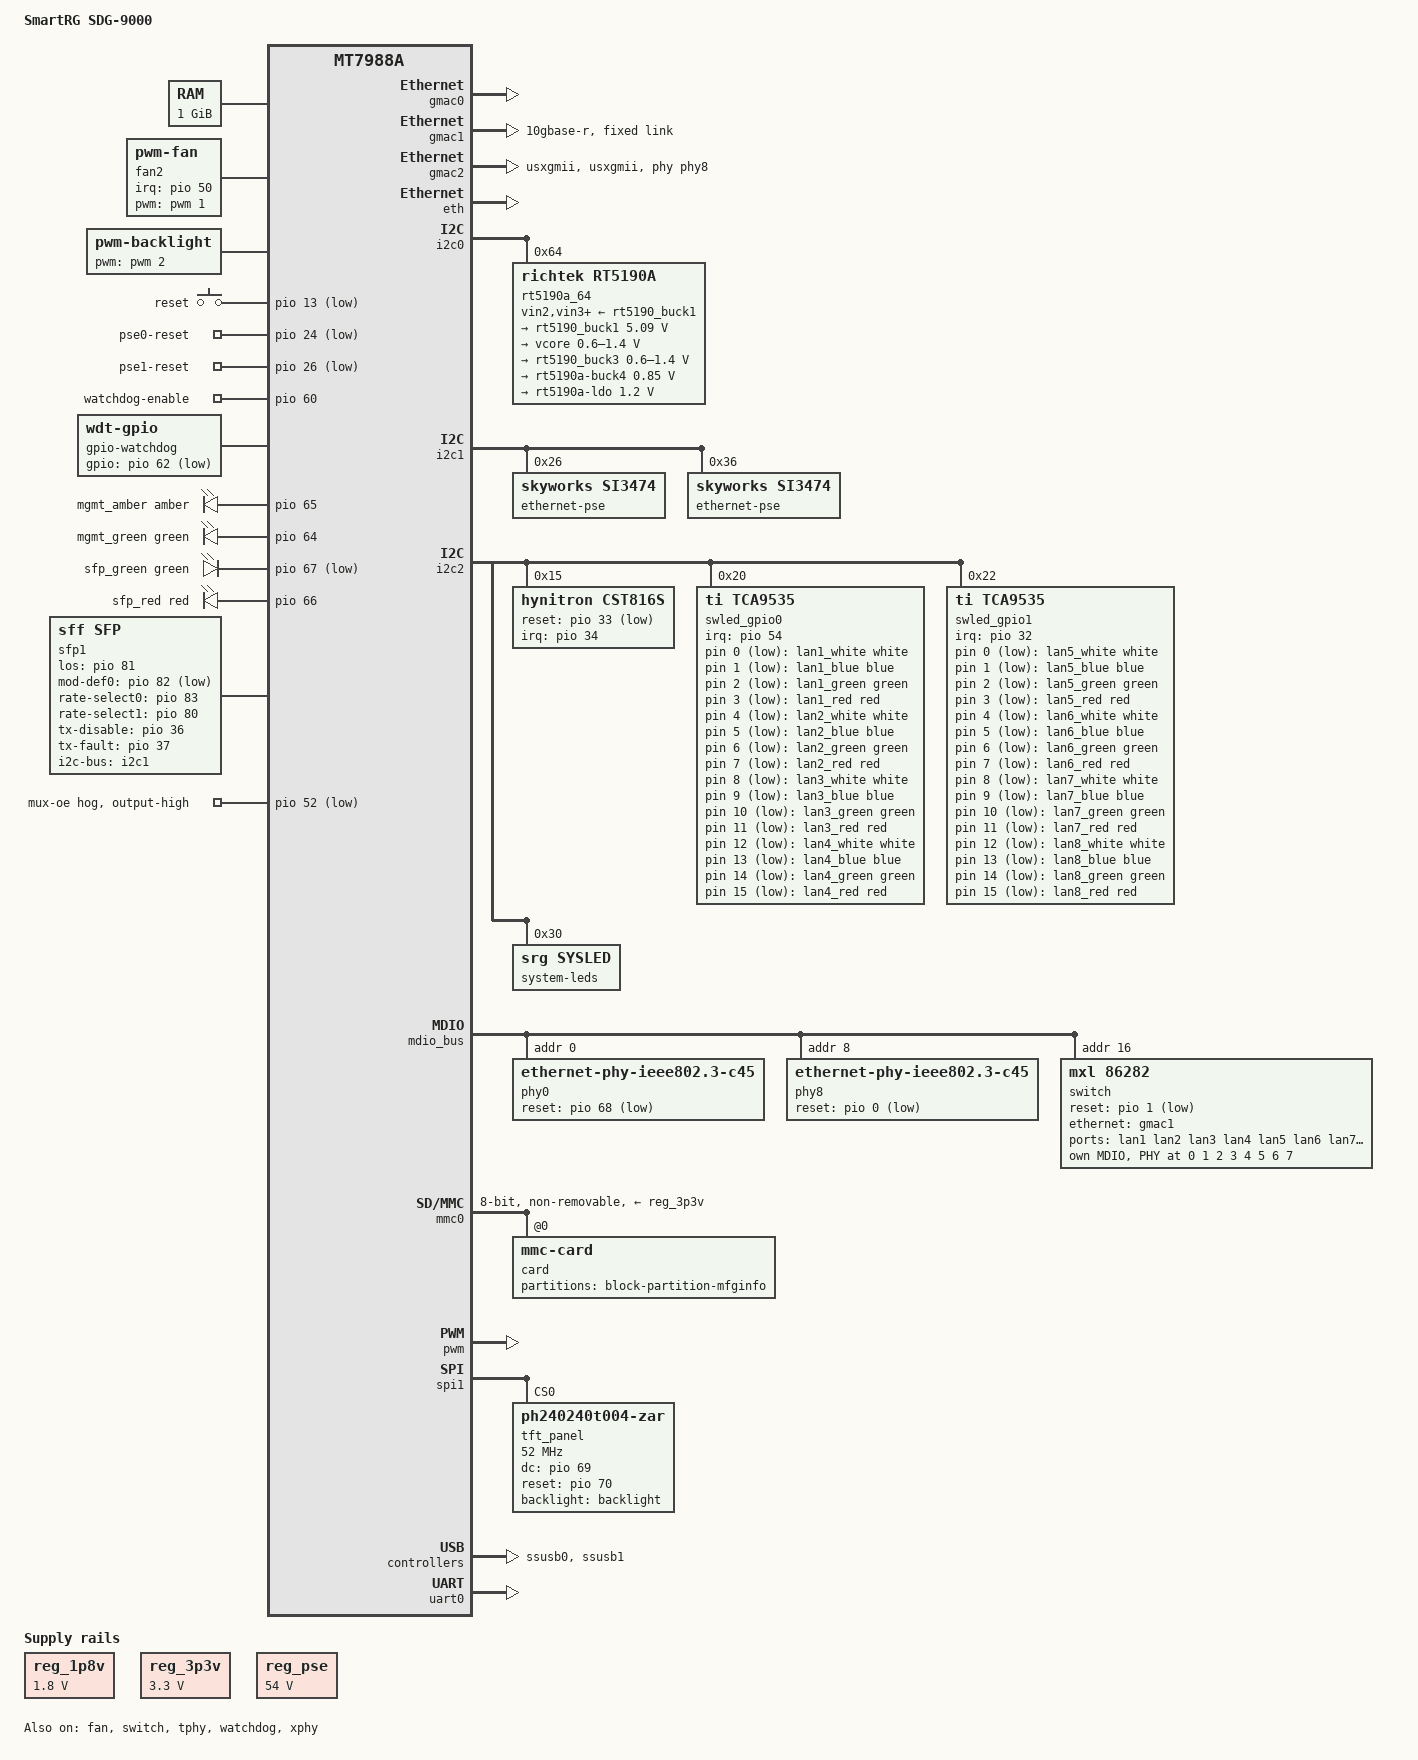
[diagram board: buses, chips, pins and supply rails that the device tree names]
// SPDX-License-Identifier: (GPL-2.0 OR MIT)
/*
 * Copyright (C) 2024 SmartRG Inc.
 * Author: Chad Monroe <chad.monroe@smartrg.com>
 */

/dts-v1/;
#include "mt7988a.dtsi"
#include "mt798x-smartrg-common.dtsi"

#include <dt-bindings/gpio/gpio.h>
#include <dt-bindings/input/input.h>
#include <dt-bindings/leds/common.h>
#include <dt-bindings/pinctrl/mt65xx.h>
#include <dt-bindings/regulator/richtek,rt5190a-regulator.h>
#include <dt-bindings/thermal/thermal.h>

/ {
	model = "SmartRG SDG-9000";
	compatible = "smartrg,sdg-9000", "mediatek,mt7988a";

	aliases {
		serial0 = &uart0;
		label-mac-device = &gmac2;
		led-boot = &led_sys_green;
		led-failsafe = &led_sys_blue;
		led-running = &led_sys_white;
		led-upgrade = &led_sys_red;
	};

	chosen {
		stdout-path = &uart0;
		bootargs = "console=ttyS0,115200n1 loglevel=8 pci=pcie_bus_perf";
	};

	memory {
		reg = <0x0 0x40000000 0x0 0x40000000>;
	};

	reserved-memory {
		#address-cells = <2>;
		#size-cells = <2>;
		ranges;

		/delete-node/ramoops@42ff0000;

		bootdata_reserved: bootdata@45000000 {
			no-map;
			reg = <0x0 0x45000000 0x0 0x00001000>;
		};

		ramoops_reserved: ramoops@45001000 {
			no-map;
			compatible = "ramoops";
			reg = <0x0 0x45001000 0x0 0x00140000>;
			ftrace-size = <0x20000>;
			record-size = <0x20000>;
			console-size = <0x20000>;
			pmsg-size = <0x80000>;
		};
	};

	bootdata {
		compatible = "bootdata";
		memory-region = <&bootdata_reserved>;
	};

	reg_1p8v: regulator-1p8v {
		compatible = "regulator-fixed";
		regulator-name = "fixed-1.8V";
		regulator-min-microvolt = <1800000>;
		regulator-max-microvolt = <1800000>;
		regulator-boot-on;
		regulator-always-on;
	};

	reg_3p3v: regulator-3p3v {
		compatible = "regulator-fixed";
		regulator-name = "fixed-3.3V";
		regulator-min-microvolt = <3300000>;
		regulator-max-microvolt = <3300000>;
		regulator-boot-on;
		regulator-always-on;
	};

	reg_pse: regulator-vpvr-pse {
		compatible = "regulator-fixed";
		regulator-name = "fixed-vpvr-pse";
		regulator-min-microvolt = <54000000>;
		regulator-max-microvolt = <54000000>;
		regulator-boot-on;
		regulator-always-on;
	};

	fan2: pwm-fan2 {
		compatible = "pwm-fan";
		#cooling-cells = <2>;
		#thermal-sensor-cells = <1>;
		status = "disabled";
	};

	backlight: backlight-lcd0 {
		compatible = "pwm-backlight";
		pwms = <&pwm 2 50000>;
		pinctrl-names = "default";
		pinctrl-0 = <&pwm2_backlight_pins>;

		status = "okay";
	};

	gpio-keys {
		compatible = "gpio-keys";
		pinctrl-names = "default";
		pinctrl-0 = <&button_pins>;

		button-reset {
			label = "reset";
			linux,code = <KEY_RESTART>;
			gpios = <&pio 13 GPIO_ACTIVE_LOW>;
		};
	};

	gpio-export {
		compatible = "gpio-export";

		pse0_reset {
			gpio-export,name = "pse0-reset";
			gpio-export,output = <1>;
			gpios = <&pio 24 GPIO_ACTIVE_LOW>;
		};

		pse1_reset {
			gpio-export,name = "pse1-reset";
			gpio-export,output = <1>;
			gpios = <&pio 26 GPIO_ACTIVE_LOW>;
		};

		watchdog_enable {
			gpio-export,name = "watchdog-enable";
			gpio-export,output = <1>;
			gpios = <&pio 60 GPIO_ACTIVE_HIGH>;
		};
	};

	gpio-watchdog {
		compatible = "linux,wdt-gpio";
		gpios = <&pio 62 GPIO_ACTIVE_LOW>;
		hw_algo = "toggle";
		hw_margin_ms = <25000>;
		always-running;
	};

	leds: gpio-leds {
		compatible = "gpio-leds";

		mgmt_amber {
			color = <LED_COLOR_ID_AMBER>;
			function = "mgmt";
			gpios = <&pio 65 GPIO_ACTIVE_HIGH>;
			linux,default-trigger = "mt7530-0:03:100Mbps";
		};

		mgmt_green {
			color = <LED_COLOR_ID_GREEN>;
			function = "mgmt";
			gpios = <&pio 64 GPIO_ACTIVE_HIGH>;
			linux,default-trigger = "mt7530-0:03:1Gbps";
		};

		sfp_green {
			color = <LED_COLOR_ID_GREEN>;
			function = "sfp";
			gpios = <&pio 67 GPIO_ACTIVE_LOW>;
		};

		sfp_red {
			color = <LED_COLOR_ID_RED>;
			function = "sfp";
			gpios = <&pio 66 GPIO_ACTIVE_HIGH>;
		};

		lan1_white {
			color = <LED_COLOR_ID_WHITE>;
			function = "lan1";
			gpios = <&swled_gpio0 0 GPIO_ACTIVE_LOW>;
			linux,default-trigger = "mxl862xx_dsa-0:00:link";
		};

		lan1_blue {
			color = <LED_COLOR_ID_BLUE>;
			function = "lan1";
			gpios = <&swled_gpio0 1 GPIO_ACTIVE_LOW>;
		};

		lan1_green {
			color = <LED_COLOR_ID_GREEN>;
			function = "lan1";
			gpios = <&swled_gpio0 2 GPIO_ACTIVE_LOW>;
		};

		lan1_red {
			color = <LED_COLOR_ID_RED>;
			function = "lan1";
			gpios = <&swled_gpio0 3 GPIO_ACTIVE_LOW>;
		};

		lan2_white {
			color = <LED_COLOR_ID_WHITE>;
			function = "lan2";
			gpios = <&swled_gpio0 4 GPIO_ACTIVE_LOW>;
			linux,default-trigger = "mxl862xx_dsa-0:01:link";
		};

		lan2_blue {
			color = <LED_COLOR_ID_BLUE>;
			function = "lan2";
			gpios = <&swled_gpio0 5 GPIO_ACTIVE_LOW>;
		};

		lan2_green {
			color = <LED_COLOR_ID_GREEN>;
			function = "lan2";
			gpios = <&swled_gpio0 6 GPIO_ACTIVE_LOW>;
		};

		lan2_red {
			color = <LED_COLOR_ID_RED>;
			function = "lan2";
			gpios = <&swled_gpio0 7 GPIO_ACTIVE_LOW>;
		};

		lan3_white {
			color = <LED_COLOR_ID_WHITE>;
			function = "lan3";
			gpios = <&swled_gpio0 8 GPIO_ACTIVE_LOW>;
			linux,default-trigger = "mxl862xx_dsa-0:02:link";
		};

		lan3_blue {
			color = <LED_COLOR_ID_BLUE>;
			function = "lan3";
			gpios = <&swled_gpio0 9 GPIO_ACTIVE_LOW>;
		};

		lan3_green {
			color = <LED_COLOR_ID_GREEN>;
			function = "lan3";
			gpios = <&swled_gpio0 10 GPIO_ACTIVE_LOW>;
		};

		lan3_red {
			color = <LED_COLOR_ID_RED>;
			function = "lan3";
			gpios = <&swled_gpio0 11 GPIO_ACTIVE_LOW>;
		};

		lan4_white {
			color = <LED_COLOR_ID_WHITE>;
			function = "lan4";
			gpios = <&swled_gpio0 12 GPIO_ACTIVE_LOW>;
			linux,default-trigger = "mxl862xx_dsa-0:03:link";
		};

		lan4_blue {
			color = <LED_COLOR_ID_BLUE>;
			function = "lan4";
			gpios = <&swled_gpio0 13 GPIO_ACTIVE_LOW>;
		};

		lan4_green {
			color = <LED_COLOR_ID_GREEN>;
			function = "lan4";
			gpios = <&swled_gpio0 14 GPIO_ACTIVE_LOW>;
		};

		lan4_red {
			color = <LED_COLOR_ID_RED>;
			function = "lan4";
			gpios = <&swled_gpio0 15 GPIO_ACTIVE_LOW>;
		};

		lan5_white {
			color = <LED_COLOR_ID_WHITE>;
			function = "lan5";
			gpios = <&swled_gpio1 0 GPIO_ACTIVE_LOW>;
			linux,default-trigger = "mxl862xx_dsa-0:04:link";
		};

		lan5_blue {
			color = <LED_COLOR_ID_BLUE>;
			function = "lan5";
			gpios = <&swled_gpio1 1 GPIO_ACTIVE_LOW>;
		};

		lan5_green {
			color = <LED_COLOR_ID_GREEN>;
			function = "lan5";
			gpios = <&swled_gpio1 2 GPIO_ACTIVE_LOW>;
		};

		lan5_red {
			color = <LED_COLOR_ID_RED>;
			function = "lan5";
			gpios = <&swled_gpio1 3 GPIO_ACTIVE_LOW>;
		};

		lan6_white {
			color = <LED_COLOR_ID_WHITE>;
			function = "lan6";
			gpios = <&swled_gpio1 4 GPIO_ACTIVE_LOW>;
			linux,default-trigger = "mxl862xx_dsa-0:05:link";
		};

		lan6_blue {
			color = <LED_COLOR_ID_BLUE>;
			function = "lan6";
			gpios = <&swled_gpio1 5 GPIO_ACTIVE_LOW>;
		};

		lan6_green {
			color = <LED_COLOR_ID_GREEN>;
			function = "lan6";
			gpios = <&swled_gpio1 6 GPIO_ACTIVE_LOW>;
		};

		lan6_red {
			color = <LED_COLOR_ID_RED>;
			function = "lan6";
			gpios = <&swled_gpio1 7 GPIO_ACTIVE_LOW>;
		};

		lan7_white {
			color = <LED_COLOR_ID_WHITE>;
			function = "lan7";
			gpios = <&swled_gpio1 8 GPIO_ACTIVE_LOW>;
			linux,default-trigger = "mxl862xx_dsa-0:06:link";
		};

		lan7_blue {
			color = <LED_COLOR_ID_BLUE>;
			function = "lan7";
			gpios = <&swled_gpio1 9 GPIO_ACTIVE_LOW>;
		};

		lan7_green {
			color = <LED_COLOR_ID_GREEN>;
			function = "lan7";
			gpios = <&swled_gpio1 10 GPIO_ACTIVE_LOW>;
		};

		lan7_red {
			color = <LED_COLOR_ID_RED>;
			function = "lan7";
			gpios = <&swled_gpio1 11 GPIO_ACTIVE_LOW>;
		};

		lan8_white {
			color = <LED_COLOR_ID_WHITE>;
			function = "lan8";
			gpios = <&swled_gpio1 12 GPIO_ACTIVE_LOW>;
			linux,default-trigger = "mxl862xx_dsa-0:07:link";
		};

		lan8_blue {
			color = <LED_COLOR_ID_BLUE>;
			function = "lan8";
			gpios = <&swled_gpio1 13 GPIO_ACTIVE_LOW>;
		};

		lan8_green {
			color = <LED_COLOR_ID_GREEN>;
			function = "lan8";
			gpios = <&swled_gpio1 14 GPIO_ACTIVE_LOW>;
		};

		lan8_red {
			color = <LED_COLOR_ID_RED>;
			function = "lan8";
			gpios = <&swled_gpio1 15 GPIO_ACTIVE_LOW>;
		};
	};

	sfp1: sfp1 {
		compatible = "sff,sfp";
		i2c-bus = <&i2c1>;
		los-gpios = <&pio 81 GPIO_ACTIVE_HIGH>;
		mod-def0-gpios = <&pio 82 GPIO_ACTIVE_LOW>;
		rate-select0-gpios = <&pio 83 GPIO_ACTIVE_HIGH>;
		rate-select1-gpios = <&pio 80 GPIO_ACTIVE_HIGH>;
		tx-disable-gpios = <&pio 36 GPIO_ACTIVE_HIGH>;
		tx-fault-gpios = <&pio 37 GPIO_ACTIVE_HIGH>;
		maximum-power-milliwatt = <4000>;
	};

	thermal-zones {
		cpu_thermal: cpu-thermal {
			thermal-sensors = <&lvts 0>;
			SDG_2FAN_THERMAL_MAP(cpu_thermal, &fan, &fan2,
					     125000, 120000,
					     110000, 80000,
					     60000, 40000);
		};

		aqr_lan_thermal: aqr-lan-thermal {
			thermal-sensors = <&phy0>;
			SDG_2FAN_THERMAL_MAP(aqr_lan_thermal, &fan, &fan2,
					     108000, 104000,
					     100000, 90000,
					     80000, 40000);
		};

		aqr_wan_thermal: aqr-wan-thermal {
			thermal-sensors = <&phy8>;
			SDG_2FAN_THERMAL_MAP(aqr_wan_thermal, &fan, &fan2,
					     108000, 104000,
					     100000, 90000,
					     80000, 40000);
		};

		mxl_thermal: mxl-thermal {
			thermal-sensors = <&swphy0>;
			SDG_2FAN_THERMAL_MAP(mxl_thermal, &fan, &fan2,
					     110000, 105000,
					     100000, 80000,
					     60000, 40000);
		};
	};
};

&cpu0 {
	proc-supply = <&rt5190_buck3>;
};

&cpu1 {
	proc-supply = <&rt5190_buck3>;
};

&cpu2 {
	proc-supply = <&rt5190_buck3>;
};

&cpu3 {
	proc-supply = <&rt5190_buck3>;
};

&cci {
	proc-supply = <&rt5190_buck3>;
};

&fan {
	pinctrl-names = "default";
	pinctrl-0 = <&pwm0_fan_pins>;
	pwms = <&pwm 0 40000 0>;

	/**
	 * set fan speed
	 *
	 * 0 = off
	 * 77 = 30% duty cycle
	 * 102 = 40% duty cycle
	 * 128 - 50% duty cycle
	 * 152 - 60% duty cycle
	 * 255 = 100% duty cycle
	 */
	cooling-levels = <77 102 128 152>;

	interrupt-parent = <&pio>;
	interrupts = <51 IRQ_TYPE_EDGE_FALLING>;
	pulses-per-revolution = <2>;

	status = "okay";
};

&fan2 {
	pinctrl-names = "default";
	pinctrl-0 = <&pwm1_fan_pins>;
	pwms = <&pwm 1 40000 0>;

	cooling-levels = <77 102 128 152>;

	interrupt-parent = <&pio>;
	interrupts = <50 IRQ_TYPE_EDGE_FALLING>;
	pulses-per-revolution = <2>;

	status = "okay";
};

&gmac0 {
	nvmem-cells = <&macaddr 0x0>;
	nvmem-cell-names = "mac-address";
	label = "dsa0";

	status = "okay";
};

&gmac1 {
	nvmem-cells = <&macaddr 0x0>;
	nvmem-cell-names = "mac-address";
	label = "dsa1";
	phy-mode = "10gbase-r";

	status = "okay";

	fixed-link {
		speed = <10000>;
		full-duplex;
		pause;
	};
};

&gmac2 {
	nvmem-cells = <&macaddr 0x0>;
	nvmem-cell-names = "mac-address";
	label = "wan";
	phy-mode = "usxgmii";
	phy-connection-type = "usxgmii";
	phy = <&phy8>;

	status = "okay";
};

&eth {
	pinctrl-0 = <&mdio0_pins>;
	pinctrl-names = "default";
	status = "okay";

	mux: mux-bus {
		mux2: ethernet-mux@2 {
			compatible = "mediatek,eth-mux";
			reg = <2>;
			label = "wan";

			chan-sel-gpios = <&pio 53 GPIO_ACTIVE_HIGH>;
			mod-def0-gpios = <&pio 82 GPIO_ACTIVE_LOW>;

			channel0: channel@0 {
				reg = <0>;
				phy-mode = "usxgmii";
				phy = <&phy8>;
			};

			channel1: channel@1 {
				reg = <1>;
				phy-mode = "usxgmii";
				sfp = <&sfp1>;
				managed = "in-band-status";
			};
		};
	};
};

&gsw_phy0 {
	status = "disabled";
};

&gsw_phy1 {
	status = "disabled";
};

&gsw_phy2 {
	status = "disabled";
};

&i2c0 {
	pinctrl-names = "default";
	pinctrl-0 = <&i2c0_pins>;
	status = "okay";

	rt5190a_64: rt5190a@64 {
		compatible = "richtek,rt5190a";
		reg = <0x64>;
		/*interrupts-extended = <&gpio26 0 IRQ_TYPE_LEVEL_LOW>;*/
		vin2-supply = <&rt5190_buck1>;
		vin3-supply = <&rt5190_buck1>;
		vin4-supply = <&rt5190_buck1>;

		regulators {
			rt5190_buck1: buck1 {
				regulator-name = "rt5190a-buck1";
				regulator-min-microvolt = <5090000>;
				regulator-max-microvolt = <5090000>;
				regulator-allowed-modes =
				<RT5190A_OPMODE_AUTO RT5190A_OPMODE_FPWM>;
				regulator-boot-on;
				regulator-always-on;
			};
			buck2 {
				regulator-name = "vcore";
				regulator-min-microvolt = <600000>;
				regulator-max-microvolt = <1400000>;
				regulator-boot-on;
				regulator-always-on;
			};
			rt5190_buck3: buck3 {
				regulator-name = "vproc";
				regulator-min-microvolt = <600000>;
				regulator-max-microvolt = <1400000>;
				regulator-boot-on;
				regulator-always-on; /* FIXME: need this for some reason to keep regulator on */
			};
			buck4 {
				regulator-name = "rt5190a-buck4";
				regulator-min-microvolt = <850000>;
				regulator-max-microvolt = <850000>;
				regulator-allowed-modes =
				<RT5190A_OPMODE_AUTO RT5190A_OPMODE_FPWM>;
				regulator-boot-on;
				regulator-always-on;
			};
			ldo {
				regulator-name = "rt5190a-ldo";
				regulator-min-microvolt = <1200000>;
				regulator-max-microvolt = <1200000>;
				regulator-boot-on;
				regulator-always-on;
			};
		};
	};
};

&i2c1 {
	pinctrl-names = "default";
	pinctrl-0 = <&i2c1_pins>;
	status = "okay";
	ethernet-pse@26 {
		compatible = "skyworks,si3474";
		reg-names = "main", "slave";
		reg = <0x26>, <0x27>;
		channels {
			#address-cells = <1>;
			#size-cells = <0>;
			phys0_0: channel@0 {
				reg = <0>;
			};
			phys0_1: channel@1 {
				reg = <1>;
			};
			phys0_2: channel@2 {
				reg = <2>;
			};
			phys0_3: channel@3 {
				reg = <3>;
			};
			phys0_4: channel@4 {
				reg = <4>;
			};
			phys0_5: channel@5 {
				reg = <5>;
			};
			phys0_6: channel@6 {
				reg = <6>;
			};
			phys0_7: channel@7 {
				reg = <7>;
			};
		};
		pse-pis {
			#address-cells = <1>;
			#size-cells = <0>;
			pse_pi0: pse-pi@0 {
				reg = <0>;
				#pse-cells = <0>;
				pairset-names = "alternative-a", "alternative-b";
				pairsets = <&phys0_4>, <&phys0_5>;
				polarity-supported = "MDI-X", "S";
				vpwr-supply = <&reg_pse>;
			};
			pse_pi1: pse-pi@1 {
				reg = <1>;
				#pse-cells = <0>;
				pairset-names = "alternative-a", "alternative-b";
				pairsets = <&phys0_6>, <&phys0_7>;
				polarity-supported = "MDI-X", "S";
				vpwr-supply = <&reg_pse>;
			};
			pse_pi2: pse-pi@2 {
				reg = <2>;
				#pse-cells = <0>;
				pairset-names = "alternative-a", "alternative-b";
				pairsets = <&phys0_0>, <&phys0_1>;
				polarity-supported = "MDI-X", "S";
				vpwr-supply = <&reg_pse>;
			};
			pse_pi3: pse-pi@3 {
				reg = <3>;
				#pse-cells = <0>;
				pairset-names = "alternative-a", "alternative-b";
				pairsets = <&phys0_2>, <&phys0_3>;
				polarity-supported = "MDI-X", "S";
				vpwr-supply = <&reg_pse>;
			};
		};
	};
	ethernet-pse@36 {
		compatible = "skyworks,si3474";
		reg-names = "main", "slave";
		reg = <0x36>, <0x37>;
		channels {
			#address-cells = <1>;
			#size-cells = <0>;
			phys1_0: channel@0 {
				reg = <0>;
			};
			phys1_1: channel@1 {
				reg = <1>;
			};
			phys1_2: channel@2 {
				reg = <2>;
			};
			phys1_3: channel@3 {
				reg = <3>;
			};
			phys1_4: channel@4 {
				reg = <4>;
			};
			phys1_5: channel@5 {
				reg = <5>;
			};
			phys1_6: channel@6 {
				reg = <6>;
			};
			phys1_7: channel@7 {
				reg = <7>;
			};
		};
		pse-pis {
			#address-cells = <1>;
			#size-cells = <0>;
			pse_pi4: pse-pi@4 {
				reg = <4>;
				#pse-cells = <0>;
				pairset-names = "alternative-a", "alternative-b";
				pairsets = <&phys1_0>, <&phys1_1>;
				polarity-supported = "MDI-X", "S";
				vpwr-supply = <&reg_pse>;
			};
			pse_pi5: pse-pi@5 {
				reg = <5>;
				#pse-cells = <0>;
				pairset-names = "alternative-a", "alternative-b";
				pairsets = <&phys1_2>, <&phys1_3>;
				polarity-supported = "MDI-X", "S";
				vpwr-supply = <&reg_pse>;
			};
			pse_pi6: pse-pi@6 {
				reg = <6>;
				#pse-cells = <0>;
				pairset-names = "alternative-a", "alternative-b";
				pairsets = <&phys1_4>, <&phys1_5>;
				polarity-supported = "MDI-X", "S";
				vpwr-supply = <&reg_pse>;
			};
			pse_pi7: pse-pi@7 {
				reg = <7>;
				#pse-cells = <0>;
				pairset-names = "alternative-a", "alternative-b";
				pairsets = <&phys1_6>, <&phys1_7>;
				polarity-supported = "MDI-X", "S";
				vpwr-supply = <&reg_pse>;
			};
		};
	};
};

&i2c2 {
	pinctrl-names = "default";
	pinctrl-0 = <&i2c2_1_pins>;
	status = "okay";

	cst816s: cst816s@15 {
		#address-cells = <1>;
		#size-cells = <0>;

		compatible = "hynitron,cst816s";
		reg = <0x15>;
		interrupt-parent = <&pio>;
		interrupts = <34 IRQ_TYPE_EDGE_RISING>;
		reset-gpios = <&pio 33 GPIO_ACTIVE_LOW>;
		touchscreen-size-x = <240>;
		touchscreen-size-y = <240>;
		touchscreen-swapped-x-y;
		touchscreen-inverted-y;
		panel = <&tft_panel>;

		gestures {
			swipe_up {
				cst816x,gesture = <0x3>;
				linux,code = <BTN_FORWARD>;
			};

			swipe_down {
				cst816x,gesture = <0x4>;
				linux,code = <BTN_BACK>;
			};

			swipe_left {
				cst816x,gesture = <0x2>;
				linux,code = <BTN_LEFT>;
			};

			swipe_right {
				cst816x,gesture = <0x1>;
				linux,code = <BTN_RIGHT>;
			};

			single_tap {
				cst816x,gesture = <0x5>;
				linux,code = <BTN_TOUCH>;
			};

			long_press {
				cst816x,gesture = <0xc>;
				linux,code = <BTN_TOOL_TRIPLETAP>;
			};
		};
	};

	swled_gpio0: tca9535@32 {
		#address-cells = <1>;
		#size-cells = <0>;

		compatible = "ti,tca9535";
		reg = <0x20>;
		gpio-controller;
		#gpio-cells = <2>;
		interrupt-controller;
		#interrupt-cells = <2>;
		interrupt-parent = <&pio>;
		interrupts = <54 IRQ_TYPE_LEVEL_LOW>;
	};

	swled_gpio1: tca9535@34 {
		#address-cells = <1>;
		#size-cells = <0>;

		compatible = "ti,tca9535";
		reg = <0x22>;
		gpio-controller;
		#gpio-cells = <2>;
		interrupt-controller;
		#interrupt-cells = <2>;
		interrupt-parent = <&pio>;
		interrupts = <32 IRQ_TYPE_LEVEL_LOW>;
	};

	system-leds {
		compatible = "srg,sysled";
		reg = <0x30>;

		led_sys_red: system_red {
			label = "red";
			reg = <1>;
		};

		led_sys_green: system_green {
			label = "green";
			reg = <2>;
		};

		led_sys_blue: system_blue {
			label = "blue";
			reg = <3>;
		};

		led_sys_white: system_white {
			label = "white";
			reg = <4>;
		};
	};
};

&mdio_bus {
	phy0: ethernet-phy@0 {
		/* CUX3410 - LAN */
		compatible = "ethernet-phy-ieee802.3-c45";
		reg = <0>;
		#thermal-sensor-cells = <0>;

		reset-gpios = <&pio 68 GPIO_ACTIVE_LOW>;
		reset-assert-us = <100000>;
		reset-deassert-us = <1000000>;

		marvell,mdi-cfg-order = <0>;
		marvell,led-config = <0x80 0x60 0xC000>;
		marvell,hwmon_temp_high = <90000>;
		marvell,hwmon_temp_crit = <100000>;

		leds {
			#address-cells = <1>;
			#size-cells = <0>;

			led@0 {
				reg = <0>;
				function = LED_FUNCTION_WAN;
				color = <LED_COLOR_ID_WHITE>;
			};

			led@1 {
				reg = <1>;
				function = LED_FUNCTION_WAN;
				color = <LED_COLOR_ID_ORANGE>;
			};

			led@2 {
				reg = <2>;
				function = LED_FUNCTION_WAN;
				color = <LED_COLOR_ID_GREEN>;
			};
		};
	};

	phy8: ethernet-phy@8 {
		/* CUX3410 - WAN */
		compatible = "ethernet-phy-ieee802.3-c45";
		reg = <8>;
		#thermal-sensor-cells = <0>;

		reset-gpios = <&pio 0 GPIO_ACTIVE_LOW>;
		reset-assert-us = <100000>;
		reset-deassert-us = <1000000>;

		marvell,mdi-cfg-order = <0>;
		marvell,led-config = <0x80 0x60 0xC000>;
		marvell,hwmon_temp_high = <90000>;
		marvell,hwmon_temp_crit = <100000>;

		leds {
			#address-cells = <1>;
			#size-cells = <0>;

			led@0 {
				reg = <0>;
				function = LED_FUNCTION_WAN;
				color = <LED_COLOR_ID_WHITE>;
			};

			led@1 {
				reg = <1>;
				function = LED_FUNCTION_WAN;
				color = <LED_COLOR_ID_ORANGE>;
			};

			led@2 {
				reg = <2>;
				function = LED_FUNCTION_WAN;
				color = <LED_COLOR_ID_GREEN>;
			};
		};
	};

	switch@10 {
		#address-cells = <1>;
		#size-cells = <0>;
		compatible = "mxl,86282";
		reg = <0x10>;
		dsa,member = <1 0>;

		status = "okay";

		reset-gpios = <&pio 1 GPIO_ACTIVE_LOW>;
		reset-assert-us = <100000>;
		reset-deassert-us = <1000000>;

		ports {
			#address-cells = <1>;
			#size-cells = <0>;

			port@0 {
				reg = <0>;
				label = "lan1";
				phy-handle = <&swphy0>;
				phy-mode = "internal";
				status = "okay";
			};

			port@1 {
				reg = <1>;
				label = "lan2";
				phy-handle = <&swphy1>;
				phy-mode = "internal";
				status = "okay";
			};

			port@2 {
				reg = <2>;
				label = "lan3";
				phy-handle = <&swphy2>;
				phy-mode = "internal";
				status = "okay";
			};

			port@3 {
				reg = <3>;
				label = "lan4";
				phy-handle = <&swphy3>;
				phy-mode = "internal";
				status = "okay";
			};

			port@4 {
				reg = <4>;
				label = "lan5";
				phy-handle = <&swphy4>;
				phy-mode = "internal";
				status = "okay";
			};

			port@5 {
				reg = <5>;
				label = "lan6";
				phy-handle = <&swphy5>;
				phy-mode = "internal";
				status = "okay";
			};

			port@6 {
				reg = <6>;
				label = "lan7";
				phy-handle = <&swphy6>;
				phy-mode = "internal";
				status = "okay";
			};

			port@7 {
				reg = <7>;
				label = "lan8";
				phy-handle = <&swphy7>;
				phy-mode = "internal";
				status = "okay";
			};

			port@8 {
				reg = <8>;
				label = "cpu";
				phy-mode = "usxgmii";
				ethernet = <&gmac1>;
				dsa-tag-protocol = "mxl862_8021q";

				fixed-link {
					speed = <10000>;
					full-duplex;
				};
			};

			port@9 {
				reg = <12>;
				label = "lan9";
				phy-handle = <&phy0>;
				phy-mode = "usxgmii";
				status = "okay";
			};
		};

		mdio {
			#address-cells = <1>;
			#size-cells = <0>;

			swphy0: swphy@0 {
				reg = <0>;
				#thermal-sensor-cells = <0>;
				pses = <&pse_pi0>;
			};
			swphy1: swphy@1 {
				reg = <1>;
				pses = <&pse_pi1>;
			};
			swphy2: swphy@2 {
				reg = <2>;
				pses = <&pse_pi2>;
			};
			swphy3: swphy@3 {
				reg = <3>;
				pses = <&pse_pi3>;
			};
			swphy4: swphy@4 {
				reg = <4>;
				pses = <&pse_pi4>;
			};
			swphy5: swphy@5 {
				reg = <5>;
				pses = <&pse_pi5>;
			};
			swphy6: swphy@6 {
				reg = <6>;
				pses = <&pse_pi6>;
			};
			swphy7: swphy@7 {
				reg = <7>;
				pses = <&pse_pi7>;
			};
		};
	};
};

&mmc0 {
	pinctrl-names = "default", "state_uhs";
	pinctrl-0 = <&mmc0_pins_emmc_51>;
	pinctrl-1 = <&mmc0_pins_emmc_51>;
	bus-width = <8>;
	max-frequency = <200000000>;
	cap-mmc-highspeed;
	mmc-hs200-1_8v;
	vmmc-supply = <&reg_3p3v>;
	vqmmc-supply = <&reg_1p8v>;
	non-removable;
	no-sd;
	no-sdio;
	status = "okay";
	#address-cells = <1>;
	#size-cells = <0>;

	card@0 {
		#address-cells = <0>;
		#size-cells = <0>;
		compatible = "mmc-card";
		reg = <0>;

		block {
			compatible = "block-device";

			partitions {
				block-partition-mfginfo {
					partname = "mfginfo";

					nvmem-layout {
						compatible = "adtran,mfginfo";

						macaddr: mfg-mac {
							#nvmem-cell-cells = <1>;
						};
					};
				};
			};
		};
	};
};

&pcie0 {
	status = "disabled";
};

&pcie1 {
	status = "disabled";
};

&pcie2 {
	status = "disabled";
};

&pcie3 {
	status = "disabled";
};

&pio {
	button_pins: button-pins {
		pins = "GPIO_RESET";
		mediatek,pull-down-adv = <0>; /* bias-disable */
	};

/*
	mxl86282_reset: mxl86282-reset-hog {
		gpio-hog;
		gpios = <1 GPIO_ACTIVE_LOW>;
		line-name = "mxl86282-reset";
		output-high;
	};
*/

	mux_oe: mux-oe-hog {
		gpio-hog;
		gpios = <52 GPIO_ACTIVE_LOW>;
		line-name = "mux-oe";
		output-high;
	};

	pwm0_fan_pins: pwm0-pins {
		mux {
			function = "pwm";
			groups = "pwm0";
		};
	};

	pwm1_fan_pins: pwm1-pins {
		mux {
			function = "pwm";
			groups = "pwm1";
		};
	};

	pwm2_backlight_pins: pwm2-pins {
		mux {
			function = "pwm";
			groups = "pwm2_0";
		};

		conf {
			groups = "pwm2_0";
			bias-pull-down = <MTK_PUPD_SET_R1R0_10>;
		};
	};
};

&pwm {
	status = "okay";
};

&spi1 {
	status = "okay";

	tft_panel: display@0 {
		compatible = "ph240240t004-zar", "panel-mipi-dbi-spi";
		reg = <0>;
		spi-max-frequency = <52000000>;
		spi-tx-buswidth = <1>;
		spi-rx-buswidth = <0>;
		spi-cpha;
		spi-cpol;

		dc-gpios = <&pio 69 GPIO_ACTIVE_HIGH>;
		reset-gpios = <&pio 70 GPIO_ACTIVE_HIGH>;
		backlight = <&backlight>;
		write-only;

		width-mm = <23>;
		height-mm = <23>;

		panel-timing {
			hactive = <240>;
			vactive = <240>;
			hback-porch = <80>;
			vback-porch = <0>;
			clock-frequency = <0>;
			hfront-porch = <0>;
			hsync-len = <0>;
			vfront-porch = <0>;
			vsync-len = <0>;
		};
	};
};

&ssusb0 {
	status = "okay";
};

&ssusb1 {
	status = "okay";
};

&switch {
	status = "okay";

	ports {
		port@0 {
			status = "disabled";
		};

		port@1 {
			status = "disabled";
		};

		port@2 {
			status = "disabled";
		};

		port@3 {
			label = "management";
		};
	};
};

&tphy {
	status = "okay";
};

&uart0 {
	status = "okay";
};

&watchdog {
	status = "okay";
};

&xphy {
	status = "okay";
};
